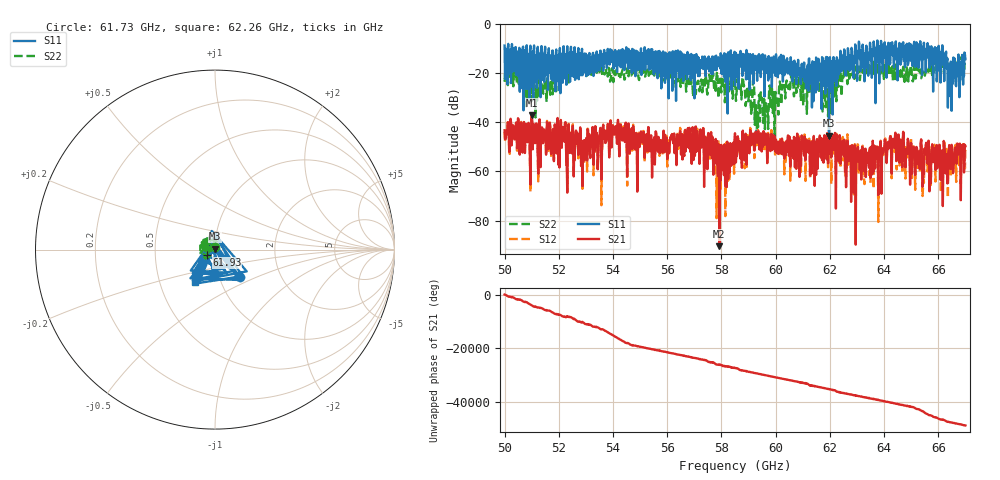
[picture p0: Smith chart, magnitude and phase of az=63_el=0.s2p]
!Created with skrf (http://scikit-rf.org).
# GHz S RI R 50.0
!freq ReS11 ImS11 ReS21 ImS21 ReS12 ImS12 ReS22 ImS22
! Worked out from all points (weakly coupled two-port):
!   1001 points, 50 GHz to 67 GHz, reference 50 ohm
!   highest |S21| = -37.10 dB at 51 GHz (marker M1); lowest = -90.4 dB at 57.92 GHz (marker M2)
!   lowest |S11| = -45.5 dB at 61.97 GHz (marker M3), VSWR 1.01, Z = 50.1 + j0.53 ohm
!   |S11| at or under -10 dB: 52.72 GHz to 54.49 GHz (1.766 GHz wide, 3.29 % of centre); 55.17 GHz to 62.66 GHz (7.495 GHz wide, 12.7 % of centre); 66.16 GHz to end of sweep (the widest 3 of 61)
!   |S22| runs from -47.6 to -13.3 dB; largest |S21 - S12| = 0.0023
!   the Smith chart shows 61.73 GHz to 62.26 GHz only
!   S11 on the Smith chart (normalised r, x): 61.73 GHz: 1.25, -0.39; 61.93 GHz: 0.91, -0.05; 62.26 GHz: 0.75, -0.28
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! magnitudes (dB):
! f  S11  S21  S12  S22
! 50 GHz  -8.7  -43.2  -43.9  -23.5
! 51 GHz  -13.5  -37.1  -37.4  -31.3
! 52.16 GHz  -12.7  -43.8  -44.0  -21.8
! 52.84 GHz  -12.7  -49.3  -48.9  -19.7
! 54.11 GHz  -12.6  -42.4  -42.6  -19.7
! 55.68 GHz  -13.7  -45.9  -46.5  -21.4
! 57.09 GHz  -19.7  -46.7  -46.5  -25.2
! 57.92 GHz  -16.3  -90.4  -71.4  -24.6
! 58.5 GHz  -24.9  -44.4  -45.6  -24.5
! 59.3 GHz  -15.0  -47.5  -49.3  -45.3
! 60.64 GHz  -15.3  -51.9  -54.1  -23.1
! 61.34 GHz  -33.9  -48.5  -48.4  -27.2
! 61.73 GHz  -13.8  -48.7  -48.6  -35.6
! 61.93 GHz  -25.2  -56.7  -58.3  -37.6
! 61.97 GHz  -45.5  -44.7  -46.2  -22.5
! 62.26 GHz  -13.5  -45.1  -46.1  -24.4
! 62.87 GHz  -21.9  -56.3  -56.8  -18.5
! 64.18 GHz  -11.9  -48.8  -50.0  -17.5
! 65.39 GHz  -9.1  -49.9  -51.4  -21.5
! 66.22 GHz  -23.2  -49.2  -48.0  -14.5
! 66.44 GHz  -29.3  -51.1  -50.0  -16.3
! 67 GHz  -14.3  -49.8  -49.5  -14.2
